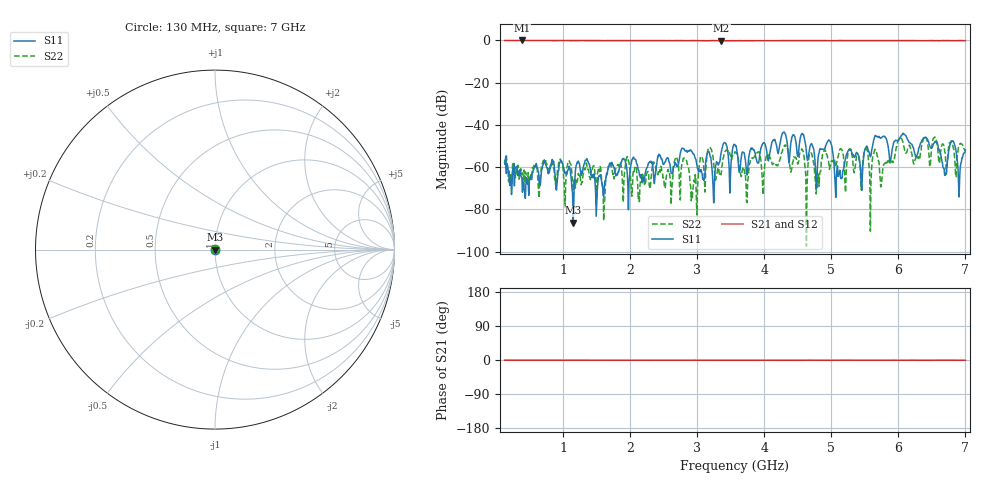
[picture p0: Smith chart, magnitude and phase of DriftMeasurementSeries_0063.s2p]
# Hz S RI R 50.000000
! Metas.Vna.Tools, 2.8.8664.20301
! Metas.Vna.Data, 2.8.8664.20285
! Created: UTC 2024.02.11 10:08:31
! FREQ  re:S1,1  im:S1,1  re:S2,1  im:S2,1  re:S1,2  im:S1,2  re:S2,2  im:S2,2
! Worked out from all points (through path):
!   801 points, 130 MHz to 7 GHz, reference 50 ohm
!   highest |S21| = -0.03 dB at 387.6 MHz (marker M1); lowest = -0.2 dB at 3.359 GHz (marker M2)
!   lowest |S11| = -86.3 dB at 1.152 GHz (marker M3), VSWR 1.00, Z = 50 - j0.000615 ohm
!   |S11| at or under -10 dB: start of sweep to end of sweep
!   |S22| runs from -97.4 to -45.2 dB; largest |S21 - S12| = 0.02
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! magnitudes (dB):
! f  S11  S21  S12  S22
! 130 MHz  -57.8  -0.1  0.0  -56.3
! 387.6 MHz  -64.7  0.0  0.0  -62.6
! 980.2 MHz  -57.1  -0.1  0.0  -57.6
! 1.152 GHz  -86.3  -0.1  0.0  -70.5
! 1.281 GHz  -61.9  0.0  0.0  -67.1
! 2.423 GHz  -55.0  -0.1  0.0  -62.1
! 2.818 GHz  -52.2  -0.1  0.0  -56.0
! 2.964 GHz  -55.0  -0.1  0.0  -67.2
! 3.247 GHz  -76.9  -0.1  0.0  -57.9
! 3.359 GHz  -53.1  -0.2  0.0  -63.5
! 3.565 GHz  -49.4  -0.1  0.0  -52.7
! 3.737 GHz  -63.3  -0.1  0.0  -76.1
! 3.891 GHz  -57.3  -0.1  0.0  -53.2
! 4.716 GHz  -49.4  -0.1  0.0  -54.6
! 4.793 GHz  -60.7  -0.1  0.0  -69.7
! 4.973 GHz  -47.4  -0.1  0.0  -61.0
! 5.085 GHz  -61.2  -0.1  0.0  -57.2
! 5.858 GHz  -52.4  -0.1  0.0  -57.3
! 6.03 GHz  -45.8  -0.1  0.0  -45.8
! 6.691 GHz  -63.9  -0.1  0.0  -52.5
! 6.794 GHz  -47.8  -0.1  0.0  -47.6
! 7 GHz  -52.0  -0.1  0.0  -52.2
